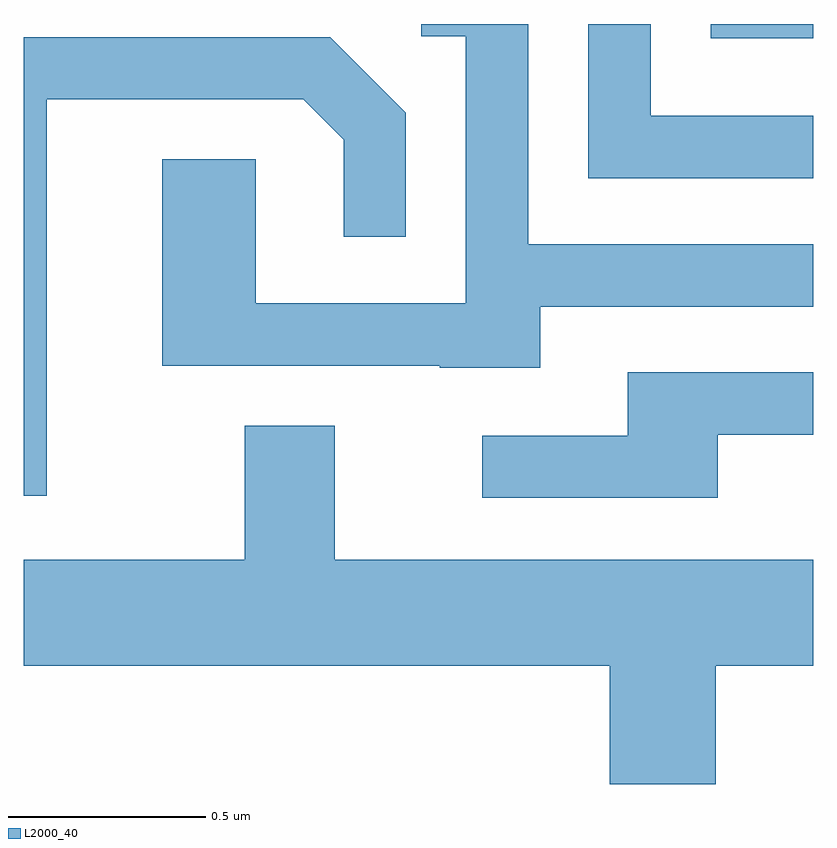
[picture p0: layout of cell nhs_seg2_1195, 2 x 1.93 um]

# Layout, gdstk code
import gdstk
lib = gdstk.Library(unit=1e-6, precision=1e-09)
def R(c, l, rs):  # rectangles x0, y0, x1, y1
    for r in rs: c.add(gdstk.rectangle(r[:2], r[2:], *l))
def P(c, l, *ps):  # polygons
    for p in ps: c.add(gdstk.Polygon(p, *l))
L2000_40 = (2000, 40)

nhs_seg2_1195 = lib.new_cell('nhs_seg2_1195')
R(nhs_seg2_1195, L2000_40, [(195.351,1078.766,195.611,1078.802)])
P(nhs_seg2_1195, L2000_40, [(195.611,1078.569),(195.199,1078.569),(195.199,1078.802),(195.041,1078.802),(195.041,1078.411),(195.611,1078.411)],
  [(194.919,1078.086),(195.611,1078.086),(195.611,1078.244),(194.889,1078.244),(194.889,1078.802),(194.618,1078.802),(194.618,1078.771),(194.731,1078.771),(194.731,1078.094),(194.199,1078.094),(194.199,1078.459),(193.961,1078.459),(193.961,1077.936),(194.665,1077.936),(194.665,1077.931),(194.919,1077.931)],
  [(193.669,1078.611),(194.319,1078.611),(194.421,1078.509),(194.421,1078.263),(194.579,1078.263),(194.579,1078.577),(194.387,1078.769),(193.611,1078.769),(193.611,1077.606),(193.669,1077.606)],
  [(195.369,1077.761),(195.611,1077.761),(195.611,1077.919),(195.141,1077.919),(195.141,1077.759),(194.773,1077.759),(194.773,1077.601),(195.369,1077.601)],
  [(195.364,1077.176),(195.611,1077.176),(195.611,1077.444),(194.399,1077.444),(194.399,1077.784),(194.171,1077.784),(194.171,1077.444),(193.611,1077.444),(193.611,1077.176),(195.096,1077.176),(195.096,1076.876),(195.364,1076.876)])

lib.write_gds('nhs_seg2_1195.gds')
